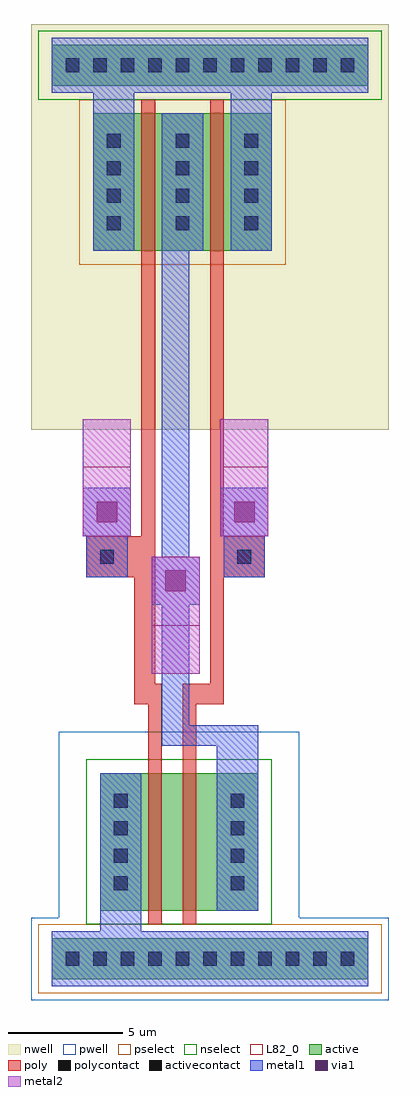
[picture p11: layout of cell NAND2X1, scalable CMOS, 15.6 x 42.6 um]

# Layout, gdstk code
import gdstk
lib = gdstk.Library(unit=1e-6, precision=1e-09)
def R(c, l, rs):  # rectangles x0, y0, x1, y1
    for r in rs: c.add(gdstk.rectangle(r[:2], r[2:], *l))
def A(c, l, x, y, w, h, nx, ny, dx, dy):  # array of equal rectangles
    R(c, l, [(x+i*dx, y+j*dy, x+i*dx+w, y+j*dy+h) for i in range(nx) for j in range(ny)])
pwell = (41, 0)
nwell = (42, 0)
active = (43, 0)
pselect = (44, 0)
nselect = (45, 0)
poly = (46, 0)
polycontact = (47, 0)
activecontact = (48, 0)
metal1 = (49, 0)
via1 = (50, 0)
metal2 = (51, 0)
L82_0 = (82, 0)

nand2x1 = lib.new_cell('NAND2X1')
R(nand2x1, pwell, [(-1.8,-1.8,13.8,1.8), (-0.6,1.8,9.9,9.9)])
R(nand2x1, nwell, [(-1.8,23.1,13.8,40.8)])
R(nand2x1, active, [(-0.9,-0.9,12.9,0.9), (1.2,2.1,8.1,8.1), (0.9,30.9,8.7,36.9), (-0.9,38.1,12.9,39.9)])
R(nand2x1, pselect, [(-1.5,-1.5,13.5,1.5), (0.3,30.3,9.3,37.5)])
R(nand2x1, nselect, [(0.6,1.5,8.7,8.7), (-1.5,37.5,13.5,40.5)])
R(nand2x1, poly, [(3.3,1.5,3.9,11.1), (4.8,1.5,5.4,11.1), (2.7,11.1,3.9,12), (4.8,11.1,6.6,12), (2.7,12,3.6,16.65), (6,12,6.6,16.65), (0.6,16.65,3.6,18.45), (6,16.65,8.4,18.45), (3,18.45,3.6,37.5), (6,18.45,6.6,37.5)])
R(nand2x1, polycontact, [(1.2,17.25,1.8,17.85), (7.2,17.25,7.8,17.85)])
A(nand2x1, activecontact, -0.3, -0.3, 0.6, 0.6, 11, 2, 1.2, 39)
A(nand2x1, activecontact, 1.8, 3, 0.6, 0.6, 1, 4, 0, 1.2)
A(nand2x1, activecontact, 6.9, 3, 0.6, 0.6, 1, 4, 0, 1.2)
A(nand2x1, activecontact, 1.5, 31.8, 0.6, 0.6, 3, 4, 3, 1.2)
R(nand2x1, metal1, [(-0.9,-1.2,12.9,1.2), (1.2,1.2,3,8.1), (6.3,2.1,8.1,9.3), (3.9,9.3,8.1,10.2), (3.9,10.2,5.1,15.45), (3.45,15.45,5.55,17.55), (0.6,16.65,2.4,18.45), (6.6,16.65,8.4,18.45), (3.9,17.55,5.1,30.9), (0.45,18.45,2.55,20.55), (6.45,18.45,8.55,20.55), (0.9,30.9,2.7,37.8), (3.9,30.9,5.7,36.9), (6.9,30.9,8.7,37.8), (-0.9,37.8,12.9,40.2)])
R(nand2x1, via1, [(4.05,16.05,4.95,16.95), (1.05,19.05,1.95,19.95), (7.05,19.05,7.95,19.95)])
R(nand2x1, metal2, [(3.45,12.45,5.55,17.55), (0.45,18.45,2.55,23.55), (6.45,18.45,8.55,23.55)])
R(nand2x1, L82_0, [(3.45,12.45,5.55,14.55), (0.45,21.45,2.55,23.55), (6.45,21.45,8.55,23.55)])

lib.write_gds('NAND2X1.gds')
